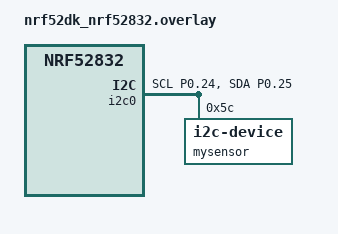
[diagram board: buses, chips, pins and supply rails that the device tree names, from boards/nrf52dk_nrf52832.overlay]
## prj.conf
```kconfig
#
# Copyright (c) 2016 Intel Corporation
#
# SPDX-License-Identifier: Apache-2.0
#

# STEP 2 - Enable the I2C driver
CONFIG_I2C=y
# STEP 4.2 - Enable floating point format specifiers
CONFIG_CBPRINTF_FP_SUPPORT=y

CONFIG_SERIAL=y
CONFIG_NEWLIB_LIBC=y
CONFIG_NEWLIB_LIBC_FLOAT_PRINTF=y
```

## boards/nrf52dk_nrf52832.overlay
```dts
// To get started, press Ctrl+Space to bring up the completion menu and view the available nodes.
// For more help, browse the DeviceTree documentation at https://docs.zephyrproject.org/latest/guides/dts/index.html

&i2c0 {
    status = "okay";
    pinctrl-0 = <&i2c0_default>;
	pinctrl-1 = <&i2c0_sleep>;
    pinctrl-names = "default", "sleep";
    mysensor: mysensor@5C{
        compatible = "i2c-device";
        status = "okay";
        reg = < 0x5C >;
        zephyr,deferred-init;
    };
};

&pinctrl {
	/omit-if-no-ref/ i2c0_default: i2c0_default {
		group1  {
			psels = <NRF_PSEL(TWIM_SCL, 0, 24)>,
					<NRF_PSEL(TWIM_SDA, 0, 25)>;
		};
	};

	/omit-if-no-ref/ i2c0_sleep: i2c0_sleep {
		group1  {
			psels = <NRF_PSEL(TWIM_SCL, 0, 24)>,
					<NRF_PSEL(TWIM_SDA, 0, 25)>;
			low-power-enable;
		};
	};
};
```

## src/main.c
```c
#include <zephyr/kernel.h>
#include <zephyr/device.h>
#include <zephyr/devicetree.h>
#include <zephyr/drivers/i2c.h>
#include <zephyr/sys/printk.h>

#define SLEEP_TIME_MS 1000

#define LPS28_WHOAMI_REG     0x0F
#define LPS28_CHIP_ID        0xB4
#define LPS28_CTRL_REG1      0x10
#define LPS28_CTRL_REG2      0x11
#define LPS28_STATUS_REG     0x27
#define LPS28_TEMP_OUT_L     0x2B
#define LPS28_PRESS_OUT_XL   0x28

#define I2C_NODE DT_NODELABEL(mysensor)

static const struct i2c_dt_spec dev_i2c = I2C_DT_SPEC_GET(I2C_NODE);

int main(void)
{
    if (!device_is_ready(dev_i2c.bus)) {
        printk("I2C bus %s is not ready!\n", dev_i2c.bus->name);
        return -1;
    }

    // WHOAMI check
    uint8_t id = 0;
    uint8_t reg = LPS28_WHOAMI_REG;
    if (i2c_write_read_dt(&dev_i2c, &reg, 1, &id, 1) != 0 || id != LPS28_CHIP_ID) {
        printk("LPS28 not found or wrong ID! Read: 0x%02X\n", id);
        return -1;
    }
    printk("LPS28 found! WHOAMI = 0x%02X\n", id);

    // Reset
    uint8_t reset[] = { LPS28_CTRL_REG2, 0x04 };
    i2c_write_dt(&dev_i2c, reset, 2);
    k_msleep(100);

    // Set FS_MODE = 1, BDU = 1
    uint8_t ctrl2[] = { LPS28_CTRL_REG2, 0x48 };
    i2c_write_dt(&dev_i2c, ctrl2, 2);

    // Set ODR = 0 (one-shot mode)
    uint8_t ctrl1[] = { LPS28_CTRL_REG1, 0x00 };
    i2c_write_dt(&dev_i2c, ctrl1, 2);

    while (1) {
        // Trigger one-shot measurement
        uint8_t trigger[] = { LPS28_CTRL_REG2, 0x49 };  // FS_MODE=1, BDU=1, ONE_SHOT=1
        i2c_write_dt(&dev_i2c, trigger, 2);

        // Wait for STATUS = 0x03
        uint8_t status = 0;
        uint8_t status_reg = LPS28_STATUS_REG;
        for (int i = 0; i < 50; i++) {
            i2c_write_read_dt(&dev_i2c, &status_reg, 1, &status, 1);
            if ((status & 0x03) == 0x03) break;
            k_msleep(10);
        }

        printk("STATUS = 0x%02X\n", status);

        if ((status & 0x03) != 0x03) {
            printk("Data not ready in time.\n");
            goto wait;
        }

        // Read temp
        uint8_t temp_raw[2] = {0};
        i2c_burst_read_dt(&dev_i2c, LPS28_TEMP_OUT_L, temp_raw, 2);
        int16_t raw_temp = (int16_t)((temp_raw[1] << 8) | temp_raw[0]);
        float temp_c = raw_temp * 0.01f;
        float temp_f = temp_c * 1.8f + 32.0f;

        // Read pressure
        uint8_t press_raw[3] = {0};
        i2c_burst_read_dt(&dev_i2c, LPS28_PRESS_OUT_XL, press_raw, 3);
        int32_t raw_press = ((int32_t)press_raw[2] << 16) |
                            ((int32_t)press_raw[1] << 8) |
                            press_raw[0];
        float pressure_hpa = raw_press / 2048.0f;

        printk("Temperature: %.2f °C / %.2f °F\n", (double)temp_c, (double)temp_f);
        printk("Pressure: %.2f hPa\n", (double)pressure_hpa);

    wait:
        k_msleep(SLEEP_TIME_MS);
    }

    return 0;
}
```
